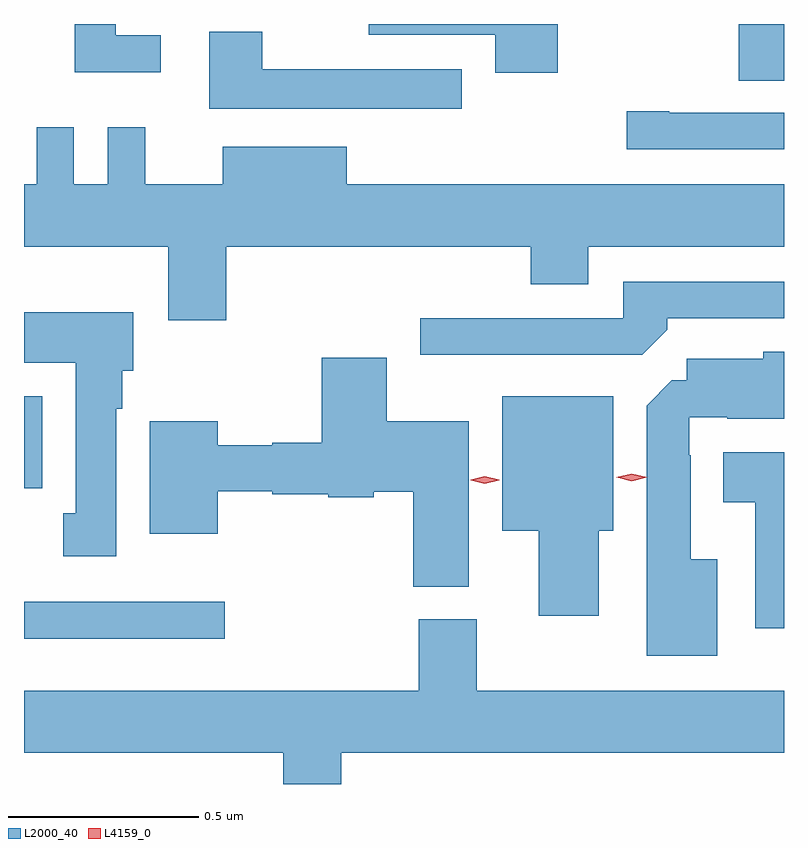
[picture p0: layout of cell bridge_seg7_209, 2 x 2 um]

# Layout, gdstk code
import gdstk
lib = gdstk.Library(unit=1e-6, precision=1e-09)
def R(c, l, rs):  # rectangles x0, y0, x1, y1
    for r in rs: c.add(gdstk.rectangle(r[:2], r[2:], *l))
def P(c, l, *ps):  # polygons
    for p in ps: c.add(gdstk.Polygon(p, *l))
L2000_40 = (2000, 40)
L4159_0 = (4159, 0)

bridge_seg7_209 = lib.new_cell('bridge_seg7_209')
R(bridge_seg7_209, L2000_40, [(133.912,1015.568,134.44,1015.665), (133.912,1015.964,133.96,1016.206), (135.793,1017.037,135.912,1017.186)])
P(bridge_seg7_209, L2000_40, [(134.272,1017.156),(134.154,1017.156),(134.154,1017.186),(134.046,1017.186),(134.046,1017.059),(134.272,1017.059)],
  [(135.317,1017.186),(134.819,1017.186),(134.819,1017.158),(135.152,1017.158),(135.152,1017.058),(135.317,1017.058)],
  [(135.064,1017.067),(134.539,1017.067),(134.539,1017.166),(134.399,1017.166),(134.399,1016.963),(135.064,1016.963)],
  [(135.912,1016.952),(135.61,1016.952),(135.61,1016.957),(135.498,1016.957),(135.498,1016.856),(135.912,1016.856)],
  [(134.444,1016.6),(135.245,1016.6),(135.245,1016.501),(135.397,1016.501),(135.397,1016.6),(135.912,1016.6),(135.912,1016.764),(134.761,1016.764),(134.761,1016.863),(134.435,1016.863),(134.435,1016.764),(134.231,1016.764),(134.231,1016.914),(134.133,1016.914),(134.133,1016.764),(134.043,1016.764),(134.043,1016.914),(133.946,1016.914),(133.946,1016.764),(133.912,1016.764),(133.912,1016.6),(134.291,1016.6),(134.291,1016.406),(134.444,1016.406)],
  [(135.605,1016.381),(135.605,1016.412),(135.912,1016.412),(135.912,1016.508),(135.489,1016.508),(135.489,1016.412),(134.955,1016.412),(134.955,1016.316),(135.539,1016.316)],
  [(134.155,1016.174),(134.17,1016.174),(134.17,1016.274),(134.2,1016.274),(134.2,1016.428),(133.912,1016.428),(133.912,1016.294),(134.048,1016.294),(134.048,1015.898),(134.015,1015.898),(134.015,1015.785),(134.155,1015.785)],
  [(135.736,1015.777),(135.667,1015.777),(135.667,1016.051),(135.663,1016.051),(135.663,1016.151),(135.763,1016.151),(135.763,1016.147),(135.912,1016.147),(135.912,1016.323),(135.858,1016.323),(135.858,1016.305),(135.656,1016.305),(135.656,1016.248),(135.617,1016.248),(135.551,1016.181),(135.551,1015.523),(135.736,1015.523)],
  [(135.082,1016.14),(134.866,1016.14),(134.866,1016.308),(134.696,1016.308),(134.696,1016.084),(134.565,1016.084),(134.565,1016.077),(134.422,1016.077),(134.422,1016.14),(134.243,1016.14),(134.243,1015.844),(134.422,1015.844),(134.422,1015.956),(134.565,1015.956),(134.565,1015.948),(134.712,1015.948),(134.712,1015.94),(134.832,1015.94),(134.832,1015.955),(134.936,1015.955),(134.936,1015.705),(135.082,1015.705)],
  [(135.424,1015.853),(135.463,1015.853),(135.463,1016.206),(135.17,1016.206),(135.17,1015.853),(135.266,1015.853),(135.266,1015.629),(135.424,1015.629)],
  [(135.912,1016.059),(135.752,1016.059),(135.752,1015.928),(135.836,1015.928),(135.836,1015.596),(135.912,1015.596)],
  [(134.747,1015.268),(135.912,1015.268),(135.912,1015.432),(135.103,1015.432),(135.103,1015.62),(134.951,1015.62),(134.951,1015.432),(133.912,1015.432),(133.912,1015.268),(134.594,1015.268),(134.594,1015.186),(134.747,1015.186)])
P(bridge_seg7_209, L4159_0, [(135.511,1015.983),(135.47,1015.993),(135.47,1015.993),(135.47,1015.993),(135.511,1016.003),(135.552,1015.993),(135.552,1015.993),(135.552,1015.993)],
  [(135.125,1015.976),(135.087,1015.986),(135.087,1015.986),(135.087,1015.987),(135.125,1015.996),(135.163,1015.987),(135.163,1015.986),(135.163,1015.986)])

lib.write_gds('bridge_seg7_209.gds')
